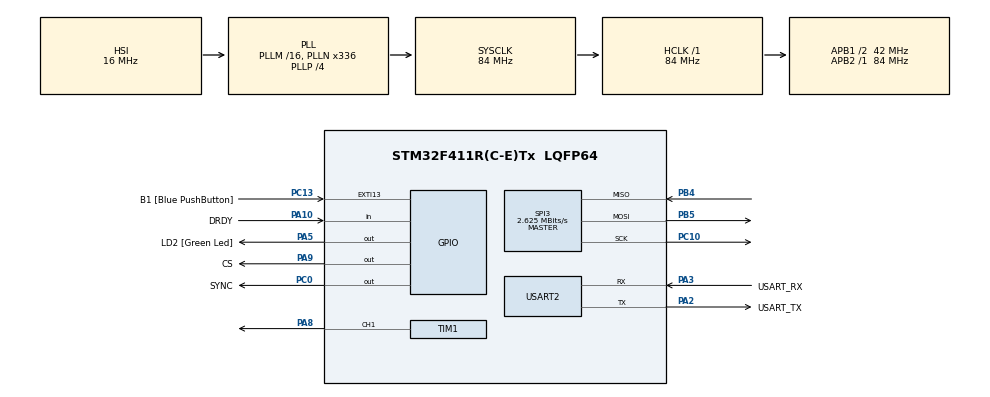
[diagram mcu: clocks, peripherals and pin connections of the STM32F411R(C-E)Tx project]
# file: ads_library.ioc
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Mcu.Family=STM32F4
Mcu.Name=STM32F411R(C-E)Tx
Mcu.Package=LQFP64
NVIC.PriorityGroup=NVIC_PRIORITYGROUP_0
PA10.GPIO_Label=DRDY
PA10.Signal=GPIO_Input
PA13.GPIO_Label=TMS
PA13.Mode=Trace_Asynchronous_SW
PA13.Signal=SYS_JTMS-SWDIO
PA14.GPIO_Label=TCK
PA14.Mode=Trace_Asynchronous_SW
PA14.Signal=SYS_JTCK-SWCLK
PA2.GPIO_Label=USART_TX
PA2.Mode=Asynchronous
PA2.Signal=USART2_TX
PA3.GPIO_Label=USART_RX
PA3.Mode=Asynchronous
PA3.Signal=USART2_RX
PA5.GPIO_Label=LD2 [Green Led]
PA5.Signal=GPIO_Output
PA8.Signal=S_TIM1_CH1
PA9.GPIO_Label=CS
PA9.Signal=GPIO_Output
PB3.Mode=Trace_Asynchronous_SW
PB3.Signal=SYS_JTDO-SWO
PB4.Mode=Full_Duplex_Master
PB4.Signal=SPI3_MISO
PB5.Mode=Full_Duplex_Master
PB5.Signal=SPI3_MOSI
PC0.GPIO_Label=SYNC
PC0.Signal=GPIO_Output
PC10.Mode=Full_Duplex_Master
PC10.Signal=SPI3_SCK
PC13-ANTI_TAMP.GPIO_Label=B1 [Blue PushButton]
PC13-ANTI_TAMP.GPIO_ModeDefaultEXTI=GPIO_MODE_IT_FALLING
PC13-ANTI_TAMP.Signal=GPXTI13
PC14-OSC32_IN.Mode=LSE-External-Oscillator
PC14-OSC32_IN.Signal=RCC_OSC32_IN
PC15-OSC32_OUT.Mode=LSE-External-Oscillator
PC15-OSC32_OUT.Signal=RCC_OSC32_OUT
PH0\ -\ OSC_IN.Mode=HSE-External-Clock-Source
PH0\ -\ OSC_IN.Signal=RCC_OSC_IN
PH1\ -\ OSC_OUT.Mode=HSE-External-Clock-Source
PH1\ -\ OSC_OUT.Signal=RCC_OSC_OUT
ProjectManager.HeapSize=0x200
ProjectManager.StackSize=0x400
ProjectManager.TargetToolchain=STM32CubeIDE
RCC.48MHZClocksFreq_Value=84000000
RCC.AHBFreq_Value=84000000
RCC.APB1CLKDivider=RCC_HCLK_DIV2
RCC.APB1Freq_Value=42000000
RCC.APB1TimFreq_Value=84000000
RCC.APB2Freq_Value=84000000
RCC.APB2TimFreq_Value=84000000
RCC.CortexFreq_Value=84000000
RCC.FLatency-AdvancedSettings=FLASH_LATENCY_2
RCC.HCLKFreq_Value=84000000
RCC.HSE_VALUE=8000000
RCC.HSI_VALUE=16000000
RCC.PLLN=336
RCC.PLLP=RCC_PLLP_DIV4
RCC.SYSCLKFreq_VALUE=84000000
RCC.SYSCLKSource=RCC_SYSCLKSOURCE_PLLCLK
RCC.VCOOutputFreq_Value=336000000
SH.S_TIM1_CH1.0=TIM1_CH1,PWM Generation1 CH1
SPI3.BaudRatePrescaler=SPI_BAUDRATEPRESCALER_16
SPI3.CLKPhase=SPI_PHASE_2EDGE
SPI3.CalculateBaudRate=2.625 MBits/s
SPI3.DataSize=SPI_DATASIZE_8BIT
SPI3.Direction=SPI_DIRECTION_2LINES
SPI3.Mode=SPI_MODE_MASTER
SPI3.VirtualType=VM_MASTER
TIM1.AutoReloadPreload=TIM_AUTORELOAD_PRELOAD_ENABLE
TIM1.Channel-PWM\ Generation1\ CH1=TIM_CHANNEL_1
TIM1.Period=11
USART2.VirtualMode=VM_ASYNC
VP_TIM1_VS_ClockSourceINT.Mode=Internal
board=NUCLEO-F411RE

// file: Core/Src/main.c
/* USER CODE BEGIN Header */
/**
  ******************************************************************************
  * @file           : main.c
  * @brief          : Main program body
  ******************************************************************************
  * @attention
  *
  * Copyright (c) 2024 STMicroelectronics.
  * All rights reserved.
  *
  * This software is licensed under terms that can be found in the LICENSE file
  * in the root directory of this software component.
  * If no LICENSE file comes with this software, it is provided AS-IS.
  *
  ******************************************************************************
  */
/* USER CODE END Header */
#include "main.h"

/* USER CODE BEGIN Includes */
#include "hal.h"
#include "ads131m0x.h"
#include "stdio.h"
/* USER CODE END Includes */

TIM_HandleTypeDef htim1;

UART_HandleTypeDef huart2;

/* USER CODE BEGIN PV */
adc_channel_data ADC_channel1;
adc_channel_data ADC_channel2;

uint16_t ID_REG = 0;
/* USER CODE END PV */

void SystemClock_Config(void);
static void MX_GPIO_Init(void);
static void MX_USART2_UART_Init(void);
static void MX_TIM1_Init(void);

int main(void)
{
  /* USER CODE BEGIN 1 */

	uint8_t RREG[3] ={0b10100000};
	uint8_t NLL[3] = {0};
	uint8_t rxData[18] ={0};

	uint16_t STATUS_REG = 0;

  /* USER CODE END 1 */

  /* MCU Configuration--------------------------------------------------------*/

  /* Reset of all peripherals, Initializes the Flash interface and the Systick. */
  HAL_Init();

  /* Configure the system clock */
  SystemClock_Config();

  /* Initialize all configured peripherals */
  MX_GPIO_Init();
  MX_USART2_UART_Init();
  MX_TIM1_Init();
  MX_SPI3_Init();
  /* USER CODE BEGIN 2 */

  HAL_GPIO_WritePin(GPIOC, SYNC_Pin, GPIO_PIN_SET);
  HAL_GPIO_WritePin(GPIOA, CS_Pin, GPIO_PIN_SET);
  HAL_GPIO_WritePin(DRDY_GPIO_Port, DRDY_Pin, GPIO_PIN_SET);

    HAL_TIM_PWM_Start(&htim1, TIM_CHANNEL_1);
    TIM1->CCR1 = 5;
    HAL_GPIO_WritePin(GPIOC, SYNC_Pin, GPIO_PIN_RESET);
    HAL_Delay(1);
    HAL_GPIO_WritePin(GPIOC, SYNC_Pin, GPIO_PIN_SET);

    adcStartup();

	 writeSingleRegister(CLOCK_ADDRESS, 0x010E);
	 ID_REG = readSingleRegister(CLOCK_ADDRESS);
	 printf("%d \n",ID_REG);
//    writeSingleRegister(CLOCK_ADDRESS, 0b0000000100001110 ); //0000 0001 00 0 011 10
  /* USER CODE END 2 */

  /* Infinite loop */
  /* USER CODE BEGIN WHILE */
  while (1)
  {

/*	 	  if(((DRDY_state)==GPIO_PIN_RESET) & (DRDY_Flag == 1)){
	 		  DRDY_Flag = 0;
	 	  }else if(DRDY_state==GPIO_PIN_SET){
	 		  DRDY_Flag = 1;
	 	  }else{
	 		  DRDY_Flag = DRDY_Flag;
	 	  }*/

	 	  // readSingleRegister(CLOCK_ADDRESS);

	 	 //ID_REG = readSingleRegister(STATUS_ADDRESS);
	 	 // printf("ID_REG2: %d \n",ID_REG);
	 	 //STATUS_REG = readSingleRegister(STATUS_ADDRESS);
	 		readData(&ADC_channel1);
	 		printf("Power: %d \n",ADC_channel1.channel0);
	 	    //HAL_Delay(10);
	 		// readData(&ADC_channel2);

    /* USER CODE END WHILE */

  }
}

void SystemClock_Config(void)
{
  RCC_OscInitTypeDef RCC_OscInitStruct = {0};
  RCC_ClkInitTypeDef RCC_ClkInitStruct = {0};

  /** Configure the main internal regulator output voltage
  */
  __HAL_RCC_PWR_CLK_ENABLE();
  __HAL_PWR_VOLTAGESCALING_CONFIG(PWR_REGULATOR_VOLTAGE_SCALE1);

  /** Initializes the RCC Oscillators according to the specified parameters
  * in the RCC_OscInitTypeDef structure.
  */
  RCC_OscInitStruct.OscillatorType = RCC_OSCILLATORTYPE_HSI;
  RCC_OscInitStruct.HSIState = RCC_HSI_ON;
  RCC_OscInitStruct.HSICalibrationValue = RCC_HSICALIBRATION_DEFAULT;
  RCC_OscInitStruct.PLL.PLLState = RCC_PLL_ON;
  RCC_OscInitStruct.PLL.PLLSource = RCC_PLLSOURCE_HSI;
  RCC_OscInitStruct.PLL.PLLM = 16;
  RCC_OscInitStruct.PLL.PLLN = 336;
  RCC_OscInitStruct.PLL.PLLP = RCC_PLLP_DIV4;
  RCC_OscInitStruct.PLL.PLLQ = 4;
  if (HAL_RCC_OscConfig(&RCC_OscInitStruct) != HAL_OK)
  {
    Error_Handler();
  }

  /** Initializes the CPU, AHB and APB buses clocks
  */
  RCC_ClkInitStruct.ClockType = RCC_CLOCKTYPE_HCLK|RCC_CLOCKTYPE_SYSCLK
                              |RCC_CLOCKTYPE_PCLK1|RCC_CLOCKTYPE_PCLK2;
  RCC_ClkInitStruct.SYSCLKSource = RCC_SYSCLKSOURCE_PLLCLK;
  RCC_ClkInitStruct.AHBCLKDivider = RCC_SYSCLK_DIV1;
  RCC_ClkInitStruct.APB1CLKDivider = RCC_HCLK_DIV2;
  RCC_ClkInitStruct.APB2CLKDivider = RCC_HCLK_DIV1;

  if (HAL_RCC_ClockConfig(&RCC_ClkInitStruct, FLASH_LATENCY_2) != HAL_OK)
  {
    Error_Handler();
  }
}

static void MX_TIM1_Init(void)
{

  TIM_ClockConfigTypeDef sClockSourceConfig = {0};
  TIM_MasterConfigTypeDef sMasterConfig = {0};
  TIM_OC_InitTypeDef sConfigOC = {0};
  TIM_BreakDeadTimeConfigTypeDef sBreakDeadTimeConfig = {0};

  htim1.Instance = TIM1;
  htim1.Init.Prescaler = 0;
  htim1.Init.CounterMode = TIM_COUNTERMODE_UP;
  htim1.Init.Period = 11;
  htim1.Init.ClockDivision = TIM_CLOCKDIVISION_DIV1;
  htim1.Init.RepetitionCounter = 0;
  htim1.Init.AutoReloadPreload = TIM_AUTORELOAD_PRELOAD_ENABLE;
  if (HAL_TIM_Base_Init(&htim1) != HAL_OK)
  {
    Error_Handler();
  }
  sClockSourceConfig.ClockSource = TIM_CLOCKSOURCE_INTERNAL;
  if (HAL_TIM_ConfigClockSource(&htim1, &sClockSourceConfig) != HAL_OK)
  {
    Error_Handler();
  }
  if (HAL_TIM_PWM_Init(&htim1) != HAL_OK)
  {
    Error_Handler();
  }
  sMasterConfig.MasterOutputTrigger = TIM_TRGO_RESET;
  sMasterConfig.MasterSlaveMode = TIM_MASTERSLAVEMODE_DISABLE;
  if (HAL_TIMEx_MasterConfigSynchronization(&htim1, &sMasterConfig) != HAL_OK)
  {
    Error_Handler();
  }
  sConfigOC.OCMode = TIM_OCMODE_PWM1;
  sConfigOC.Pulse = 0;
  sConfigOC.OCPolarity = TIM_OCPOLARITY_HIGH;
  sConfigOC.OCNPolarity = TIM_OCNPOLARITY_HIGH;
  sConfigOC.OCFastMode = TIM_OCFAST_DISABLE;
  sConfigOC.OCIdleState = TIM_OCIDLESTATE_RESET;
  sConfigOC.OCNIdleState = TIM_OCNIDLESTATE_RESET;
  if (HAL_TIM_PWM_ConfigChannel(&htim1, &sConfigOC, TIM_CHANNEL_1) != HAL_OK)
  {
    Error_Handler();
  }
  sBreakDeadTimeConfig.OffStateRunMode = TIM_OSSR_DISABLE;
  sBreakDeadTimeConfig.OffStateIDLEMode = TIM_OSSI_DISABLE;
  sBreakDeadTimeConfig.LockLevel = TIM_LOCKLEVEL_OFF;
  sBreakDeadTimeConfig.DeadTime = 0;
  sBreakDeadTimeConfig.BreakState = TIM_BREAK_DISABLE;
  sBreakDeadTimeConfig.BreakPolarity = TIM_BREAKPOLARITY_HIGH;
  sBreakDeadTimeConfig.AutomaticOutput = TIM_AUTOMATICOUTPUT_DISABLE;
  if (HAL_TIMEx_ConfigBreakDeadTime(&htim1, &sBreakDeadTimeConfig) != HAL_OK)
  {
    Error_Handler();
  }
  HAL_TIM_MspPostInit(&htim1);

}

static void MX_USART2_UART_Init(void)
{

  huart2.Instance = USART2;
  huart2.Init.BaudRate = 115200;
  huart2.Init.WordLength = UART_WORDLENGTH_8B;
  huart2.Init.StopBits = UART_STOPBITS_1;
  huart2.Init.Parity = UART_PARITY_NONE;
  huart2.Init.Mode = UART_MODE_TX_RX;
  huart2.Init.HwFlowCtl = UART_HWCONTROL_NONE;
  huart2.Init.OverSampling = UART_OVERSAMPLING_16;
  if (HAL_UART_Init(&huart2) != HAL_OK)
  {
    Error_Handler();
  }

}

static void MX_GPIO_Init(void)
{
  GPIO_InitTypeDef GPIO_InitStruct = {0};

  /* GPIO Ports Clock Enable */
  __HAL_RCC_GPIOC_CLK_ENABLE();
  __HAL_RCC_GPIOH_CLK_ENABLE();
  __HAL_RCC_GPIOA_CLK_ENABLE();
  __HAL_RCC_GPIOB_CLK_ENABLE();

  /*Configure GPIO pin Output Level */
  HAL_GPIO_WritePin(SYNC_GPIO_Port, SYNC_Pin, GPIO_PIN_RESET);

  /*Configure GPIO pin Output Level */
  HAL_GPIO_WritePin(GPIOA, LD2_Pin|CS_Pin, GPIO_PIN_RESET);

  /*Configure GPIO pin : B1_Pin */
  GPIO_InitStruct.Pin = B1_Pin;
  GPIO_InitStruct.Mode = GPIO_MODE_IT_FALLING;
  GPIO_InitStruct.Pull = GPIO_NOPULL;
  HAL_GPIO_Init(B1_GPIO_Port, &GPIO_InitStruct);

  /*Configure GPIO pin : SYNC_Pin */
  GPIO_InitStruct.Pin = SYNC_Pin;
  GPIO_InitStruct.Mode = GPIO_MODE_OUTPUT_PP;
  GPIO_InitStruct.Pull = GPIO_NOPULL;
  GPIO_InitStruct.Speed = GPIO_SPEED_FREQ_LOW;
  HAL_GPIO_Init(SYNC_GPIO_Port, &GPIO_InitStruct);

  /*Configure GPIO pins : LD2_Pin CS_Pin */
  GPIO_InitStruct.Pin = LD2_Pin|CS_Pin;
  GPIO_InitStruct.Mode = GPIO_MODE_OUTPUT_PP;
  GPIO_InitStruct.Pull = GPIO_NOPULL;
  GPIO_InitStruct.Speed = GPIO_SPEED_FREQ_LOW;
  HAL_GPIO_Init(GPIOA, &GPIO_InitStruct);

  /*Configure GPIO pin : DRDY_Pin */
  GPIO_InitStruct.Pin = DRDY_Pin;
  GPIO_InitStruct.Mode = GPIO_MODE_INPUT;
  GPIO_InitStruct.Pull = GPIO_NOPULL;
  HAL_GPIO_Init(DRDY_GPIO_Port, &GPIO_InitStruct);

}

/* USER CODE BEGIN 4 */
int _write(int file, char *ptr, int len)
{
  (void)file;
  int DataIdx;

  for (DataIdx = 0; DataIdx < len; DataIdx++)
  {
    ITM_SendChar(*ptr++);
  }
  return len;
}

/* USER CODE END 4 */

void Error_Handler(void)
{
  __disable_irq();
  while (1)
  {
  }
}
